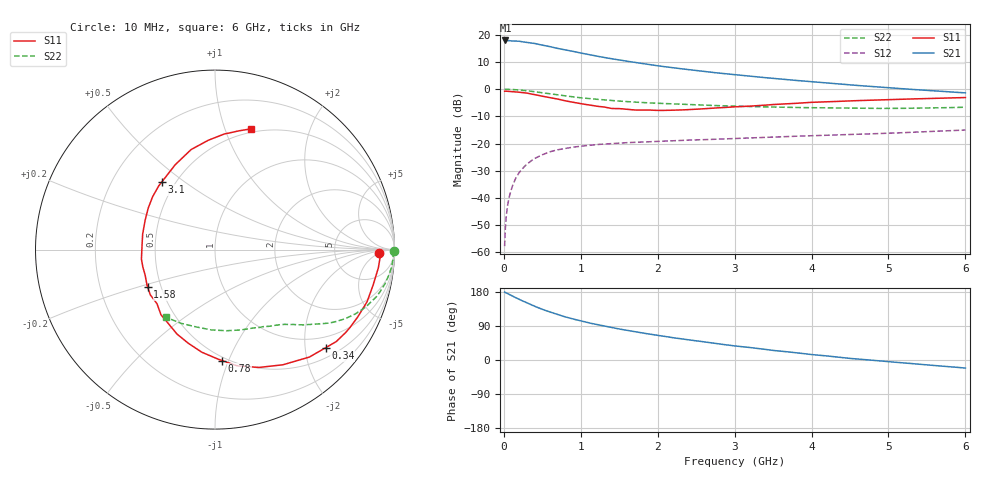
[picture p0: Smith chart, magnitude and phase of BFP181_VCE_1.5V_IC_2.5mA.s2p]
! Infineon Technologies  Discrete & RF Semiconductors
! BFP181
! VCE = 1.5 V,  IC =  2.5 mA
! Common Emitter S-Parameters:  Jan 2016
# GHz  S  MA  R  50
!  f  S11  S21  S12  S22
! GHz  MAG  ANG  MAG  ANG  MAG  ANG  MAG  ANG
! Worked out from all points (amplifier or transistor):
!   210 points, 10 MHz to 6 GHz, reference 50 ohm
!   highest |S21| = 17.9 dB at 20 MHz (marker M1)
!   |S21| within 3 dB of that: start of sweep to 712.8 MHz
!   unconditionally stable (mu >= 1): 2.139 GHz to end of sweep
!   at 185 MHz: K = 0.12, MSG = 24.5 dB, |S12| = -31.3 dB
!   at 1.52 GHz: K = 0.77, MSG = 15.2 dB, |S12| = -19.8 dB
!   at 6 GHz: K = 1.14, MAG = 4.6 dB, |S12| = -15.0 dB
!   S11 on the Smith chart (normalised r, x): 10 MHz: 22, -6; 340 MHz: 0.72, -2.45; 780 MHz: 0.47, -0.95; 1.58 GHz: 0.42, -0.22; 3.1 GHz: 0.42, +0.42; 6 GHz: 0.46, +1.23
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0.01  0.9167 -1.3  7.79 179.2  0.0013 92.2  0.9951 -0.6
0.02  0.921 -2.7  7.867 178.5  0.0028 91.4  0.9938 -1.1
0.05  0.9157 -6.4  7.863 175.0  0.0075 87.3  0.9929 -3.0
0.115  0.8995 -14.6  7.694 168.5  0.017 79.5  0.9853 -6.5
0.2  0.8793 -25.3  7.616 159.9  0.0293 75.1  0.9671 -11.2
0.34  0.8236 -41.6  7.106 147.4  0.0463 65.6  0.9216 -18.0
0.4  0.7969 -48.7  6.931 141.6  0.0531 62.3  0.8997 -20.8
0.5  0.7449 -59.5  6.46 133.5  0.0623 56.8  0.8603 -24.6
0.6  0.7004 -69.6  6.072 126.5  0.0707 52.0  0.8233 -27.8
0.78  0.6193 -86.4  5.358 115.0  0.0807 45.0  0.7603 -32.4
1.02  0.5364 -107.5  4.562 102.1  0.09 38.4  0.6907 -37.0
1.1  0.5158 -114.3  4.358 98.1  0.0927 36.5  0.6727 -38.3
1.3  0.4715 -129.7  3.834 89.9  0.098 32.7  0.636 -41.2
1.58  0.4297 -150.7  3.305 79.0  0.1037 29.4  0.5954 -44.5
1.8  0.4135 -166.6  2.964 71.2  0.1067 27.7  0.5684 -47.1
2.02  0.4072 179.6  2.671 64.4  0.1101 25.8  0.5494 -49.8
2.4  0.4211 158.3  2.289 53.2  0.1158 23.6  0.5225 -54.9
3.1  0.48 128.0  1.793 35.1  0.1254 20.9  0.4828 -65.3
3.5  0.5219 115.2  1.58 25.3  0.1319 19.6  0.4705 -72.1
4.1  0.5792 101.3  1.335 12.6  0.1411 17.1  0.4536 -83.9
5.1  0.6505 84.2  1.039 -6.1  0.1568 13.9  0.4438 -105.9
6  0.7022 73.4  0.855 -21.3  0.1773 9.9  0.4661 -126.1
